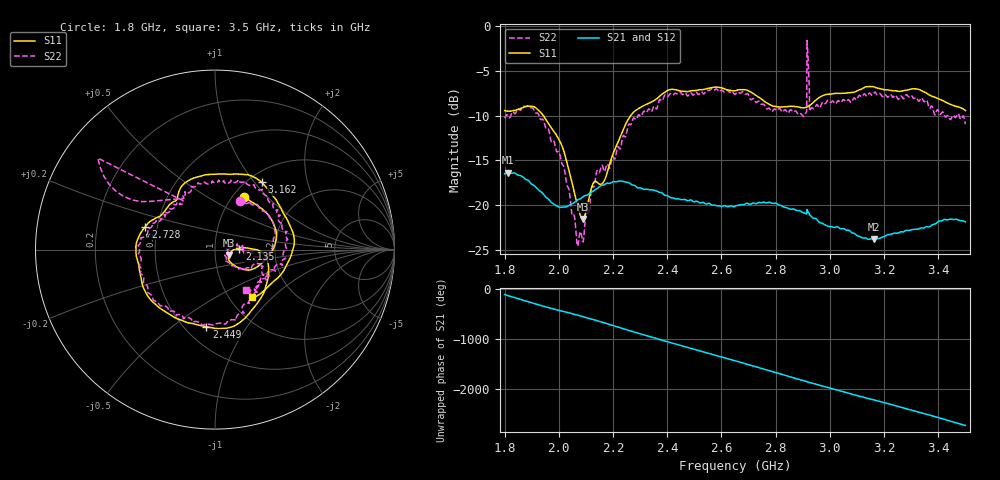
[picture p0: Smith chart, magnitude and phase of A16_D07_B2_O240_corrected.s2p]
! Created with skrf 1.9.0 (http://scikit-rf.org).
# Hz S RI R 50.0
!freq ReS11 ImS11 ReS21 ImS21 ReS12 ImS12 ReS22 ImS22
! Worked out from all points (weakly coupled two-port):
!   1601 points, 1.8 GHz to 3.5 GHz, reference 50 ohm
!   highest |S21| = -16.36 dB at 1.812 GHz (marker M1); lowest = -23.8 dB at 3.162 GHz (marker M2)
!   lowest |S11| = -21.5 dB at 2.089 GHz (marker M3), VSWR 1.18, Z = 58.4 - j3.56 ohm
!   |S11| at or under -10 dB: 1.943 GHz to 2.265 GHz (322.7 MHz wide, 15.3 % of centre)
!   |S22| runs from -24.6 to -1.6 dB; largest |S21 - S12| = 0.0028
!   S11 on the Smith chart (normalised r, x): 1.8 GHz: 1.12, +0.75; 2.135 GHz: 1.32, +0.01; 2.449 GHz: 0.63, -0.67; 2.728 GHz: 0.43, +0.13; 3.162 GHz: 1.15, +1.09; 3.5 GHz: 1.27, -0.76
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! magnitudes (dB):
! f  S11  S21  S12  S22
! 1.8 GHz  -9.5  -16.5  -16.5  -10.3
! 1.812 GHz  -9.5  -16.4  -16.4  -10.0
! 1.887 GHz  -9.0  -17.2  -17.3  -8.9
! 1.941 GHz  -9.9  -18.7  -18.7  -10.4
! 2.013 GHz  -13.5  -20.2  -20.2  -15.4
! 2.067 GHz  -19.7  -19.5  -19.5  -24.2
! 2.084 GHz  -21.4  -19.2  -19.2  -23.3
! 2.089 GHz  -21.5  -19.1  -19.1  -24.1
! 2.135 GHz  -17.3  -18.3  -18.3  -17.1
! 2.167 GHz  -17.3  -17.7  -17.7  -16.2
! 2.268 GHz  -9.9  -17.7  -17.6  -10.9
! 2.367 GHz  -8.0  -18.5  -18.5  -8.6
! 2.449 GHz  -7.3  -19.4  -19.4  -7.4
! 2.65 GHz  -7.2  -20.1  -20.1  -7.7
! 2.728 GHz  -7.8  -19.8  -19.8  -8.5
! 2.903 GHz  -9.1  -20.8  -20.8  -10.1
! 2.916 GHz  -9.1  -20.5  -20.5  -1.6
! 2.924 GHz  -8.9  -20.9  -20.9  -7.0
! 2.934 GHz  -8.7  -21.3  -21.3  -9.1
! 3.162 GHz  -6.8  -23.8  -23.7  -7.5
! 3.217 GHz  -7.2  -23.3  -23.2  -7.8
! 3.5 GHz  -9.4  -21.9  -21.8  -11.0
